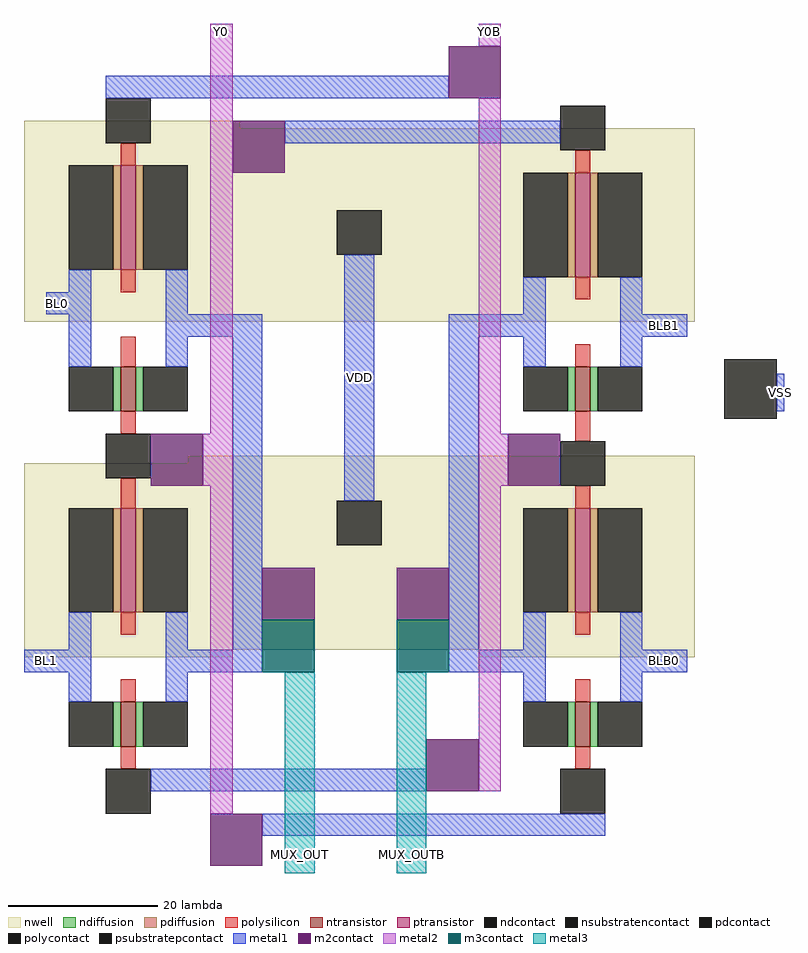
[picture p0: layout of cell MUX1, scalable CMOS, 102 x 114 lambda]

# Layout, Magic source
magic
tech scmos
<< nwell >>
rect 1 50 30 51
rect 1 24 91 50
rect 23 5 91 6
rect 1 -20 91 5
rect 1 -21 29 -20
rect 62 -21 91 -20
<< ntransistor >>
rect 14 12 16 18
rect 75 12 77 18
rect 14 -33 16 -27
rect 75 -33 77 -27
<< ptransistor >>
rect 14 31 16 45
rect 75 30 77 44
rect 14 -15 16 -1
rect 75 -15 77 -1
<< ndiffusion >>
rect 13 12 14 18
rect 16 12 17 18
rect 74 12 75 18
rect 77 12 78 18
rect 13 -33 14 -27
rect 16 -33 17 -27
rect 74 -33 75 -27
rect 77 -33 78 -27
<< pdiffusion >>
rect 13 31 14 45
rect 16 31 17 45
rect 74 30 75 44
rect 77 30 78 44
rect 13 -15 14 -1
rect 16 -15 17 -1
rect 74 -15 75 -1
rect 77 -15 78 -1
<< ndcontact >>
rect 7 12 13 18
rect 17 12 23 18
rect 68 12 74 18
rect 78 12 84 18
rect 7 -33 13 -27
rect 17 -33 23 -27
rect 68 -33 74 -27
rect 78 -33 84 -27
<< pdcontact >>
rect 7 31 13 45
rect 17 31 23 45
rect 68 30 74 44
rect 78 30 84 44
rect 7 -15 13 -1
rect 17 -15 23 -1
rect 68 -15 74 -1
rect 78 -15 84 -1
<< psubstratepcontact >>
rect 95 11 102 19
<< nsubstratencontact >>
rect 43 33 49 39
rect 43 -6 49 0
<< polysilicon >>
rect 14 45 16 48
rect 75 44 77 47
rect 14 28 16 31
rect 75 27 77 30
rect 14 18 16 22
rect 75 18 77 21
rect 14 9 16 12
rect 75 8 77 12
rect 14 -1 16 3
rect 75 -1 77 2
rect 14 -18 16 -15
rect 75 -18 77 -15
rect 14 -27 16 -24
rect 75 -27 77 -24
rect 14 -36 16 -33
rect 75 -36 77 -33
<< polycontact >>
rect 12 48 18 54
rect 73 47 79 53
rect 12 3 18 9
rect 73 2 79 8
rect 12 -42 18 -36
rect 73 -42 79 -36
<< metal1 >>
rect 12 54 58 57
rect 36 48 73 51
rect 7 28 10 31
rect 4 25 10 28
rect 7 18 10 25
rect 20 25 23 31
rect 20 22 33 25
rect 20 18 23 22
rect 7 -20 10 -15
rect 1 -23 10 -20
rect 7 -27 10 -23
rect 20 -20 23 -15
rect 29 -20 33 22
rect 44 0 48 33
rect 68 25 71 30
rect 58 22 71 25
rect 20 -23 33 -20
rect 58 -20 62 22
rect 68 18 71 22
rect 81 25 84 30
rect 81 22 90 25
rect 81 18 84 22
rect 102 12 103 17
rect 68 -20 71 -15
rect 58 -23 71 -20
rect 20 -27 23 -23
rect 68 -27 71 -23
rect 81 -20 84 -15
rect 81 -23 90 -20
rect 81 -27 84 -23
rect 18 -39 55 -36
rect 33 -45 79 -42
<< m2contact >>
rect 58 54 65 61
rect 29 44 36 51
rect 18 2 25 9
rect 33 -16 40 -9
rect 51 -16 58 -9
rect 66 2 73 9
rect 55 -39 62 -32
rect 26 -49 33 -42
<< metal2 >>
rect 26 9 29 64
rect 62 61 65 64
rect 25 2 29 9
rect 26 -42 29 2
rect 62 9 65 54
rect 62 2 66 9
rect 62 -39 65 2
<< m3contact >>
rect 33 -23 40 -16
rect 51 -23 58 -16
<< metal3 >>
rect 36 -50 40 -23
rect 51 -50 55 -23
<< labels >>
rlabel metal1 1 -23 7 -20 0 BL1
port 2 nsew
rlabel metal2 62 62 65 64 0 Y0B
port 4 nsew
rlabel metal3 36 -50 40 -45 0 MUX_OUT
port 7 nsew
rlabel metal3 51 -50 55 -45 0 MUX_OUTB
port 8 nsew
rlabel metal1 44 0 48 33 0 VDD
port 9 nsew
rlabel metal1 102 12 103 17 0 VSS
port 10 nsew
rlabel metal2 26 62 29 64 0 Y0
port 3 nsew
rlabel metal1 4 25 7 28 0 BL0
port 11 nsew
rlabel metal1 84 22 90 25 0 BLB1
port 12 nsew
rlabel metal1 84 -23 90 -20 0 BLB0
port 13 nsew
<< end >>
